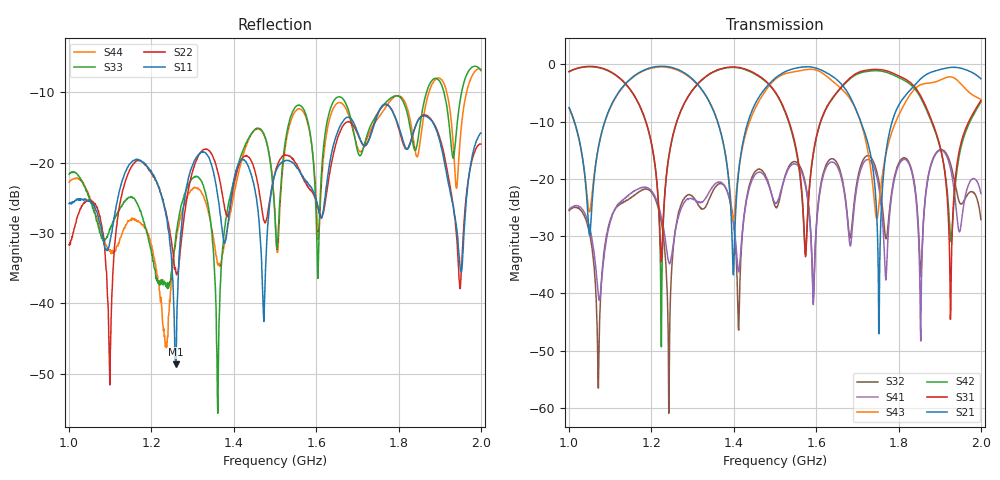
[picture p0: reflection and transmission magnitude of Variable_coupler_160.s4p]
#  HZ  S  DB  R  50.00
! Rohde & Schwarz Vector Network Analyzer
! Rohde-Schwarz,ZNB8-4Port,1311601044102961,2.82
! Created: UTC 1/17/2019, 3:19:40 PM
! freq[Hz]  db:S11  ang:S11  db:S12  ang:S12  db:S13  ang:S13  db:S14  ang:S14
!  db:S21  ang:S21  db:S22  ang:S22  db:S23  ang:S23  db:S24  ang:S24
!  db:S31  ang:S31  db:S32  ang:S32  db:S33  ang:S33  db:S34  ang:S34
!  db:S41  ang:S41  db:S42  ang:S42  db:S43  ang:S43  db:S44  ang:S44
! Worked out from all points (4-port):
!   1001 points, 1 GHz to 2 GHz, reference 50 ohm
!   strongest paths, dB at 1 GHz, 1.25 GHz, 1.5 GHz, 1.75 GHz, 2 GHz:
!     S21: -7.5, -0.5, -2.4, -32.9, -2.5
!     S31: -1.2, -13.0, -4.7, -0.9, -6.3
!     S42: -1.3, -13.1, -4.8, -1.1, -6.6
!     S43: -7.7, -0.7, -2.7, -26.2, -6.1
!     S41: -25.3, -32.9, -24.2, -20.6, -22.5
!     S32: -25.6, -34.8, -24.8, -19.6, -27.1
!   lowest |S11| = -48.7 dB at 1.259 GHz (marker M1), VSWR 1.01, Z = 50.3 + j0.125 ohm
!   |S11| at or under -10 dB: start of sweep to end of sweep
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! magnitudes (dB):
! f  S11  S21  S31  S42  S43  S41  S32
! 1 GHz  -25.8  -7.5  -1.2  -1.3  -7.7  -25.3  -25.6
! 1.259 GHz  -48.7  -0.7  -10.5  -10.6  -0.9  -28.8  -28.4
! 1.399 GHz  -22.9  -36.8  -0.4  -0.5  -27.3  -27.2  -27.5
! 1.574 GHz  -22.5  -0.4  -33.6  -33.3  -0.9  -21.3  -20.8
! 1.752 GHz  -12.8  -47.1  -0.9  -1.1  -24.9  -21.4  -20.3
! 1.926 GHz  -24.4  -0.5  -44.6  -30.1  -2.2  -18.1  -17.3
! 2 GHz  -15.8  -2.5  -6.3  -6.6  -6.1  -22.5  -27.1
